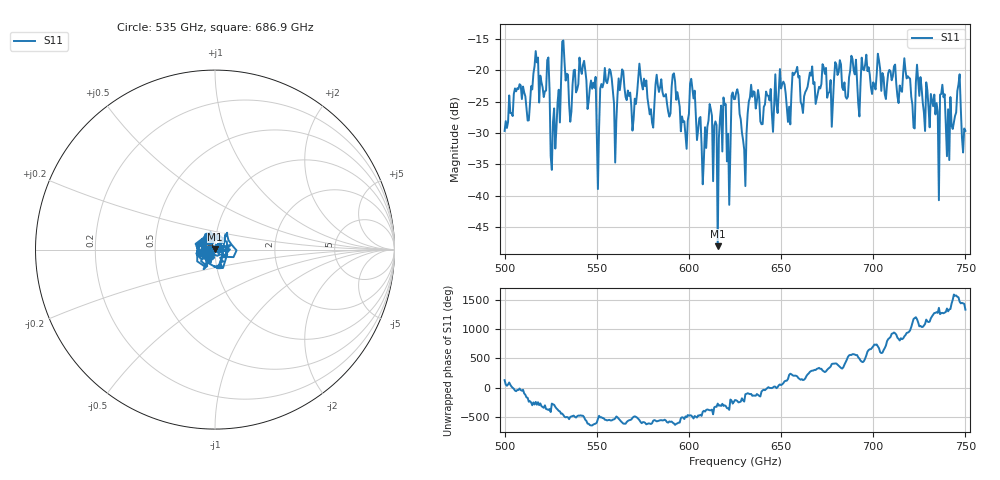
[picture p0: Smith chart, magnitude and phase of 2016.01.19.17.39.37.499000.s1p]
!Created with skrf (http://scikit-rf.org).
# GHz S RI R 50.0
!freq ReS11 ImS11
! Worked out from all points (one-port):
!   401 points, 500 GHz to 750 GHz, reference 50 ohm
!   lowest |S11| = -48.0 dB at 615.6 GHz (marker M1), VSWR 1.01, Z = 50 + j0.395 ohm
!   |S11| at or under -10 dB: start of sweep to end of sweep
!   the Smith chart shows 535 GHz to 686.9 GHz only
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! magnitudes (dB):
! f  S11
! 500 GHz  -29.7
! 506.9 GHz  -22.9
! 513.1 GHz  -28.0
! 516.9 GHz  -17.0
! 523.1 GHz  -18.4
! 526.2 GHz  -28.3
! 531.2 GHz  -15.4
! 535.6 GHz  -28.2
! 541.9 GHz  -20.6
! 551.2 GHz  -29.3
! 553.1 GHz  -22.7
! 560 GHz  -34.7
! 562.5 GHz  -23.2
! 593.8 GHz  -23.5
! 615.6 GHz  -48.0
! 618.8 GHz  -24.4
! 621.9 GHz  -41.5
! 625 GHz  -24.6
! 630 GHz  -32.7
! 634.4 GHz  -24.3
! 656.2 GHz  -20.4
! 687.5 GHz  -20.1
! 718.8 GHz  -21.0
! 734.4 GHz  -25.3
! 737.5 GHz  -22.3
! 740.6 GHz  -26.2
! 746.2 GHz  -22.3
! 750 GHz  -29.7
